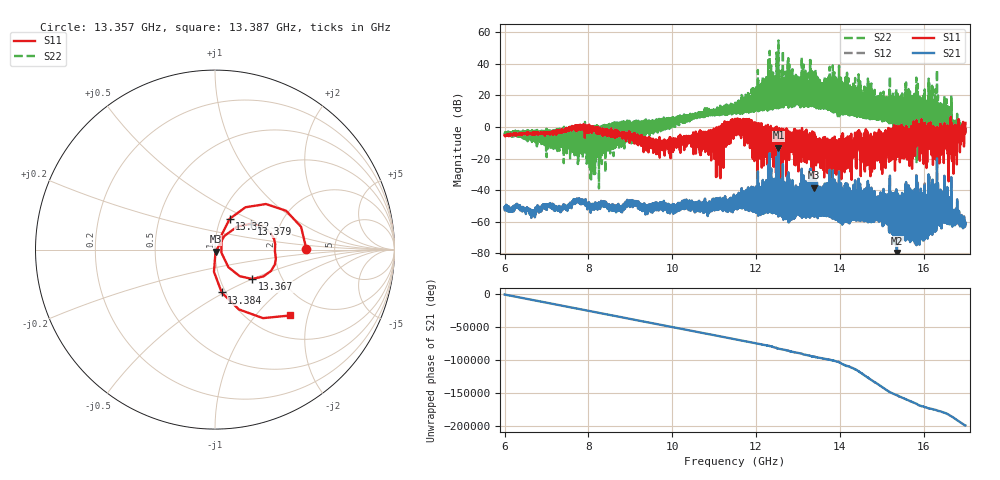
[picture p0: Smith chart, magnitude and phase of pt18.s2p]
#  HZ  S  RI  R  50.00
! Rohde & Schwarz Vector Network Analyzer
! Rohde-Schwarz,ZNA67-2Port,1332450062101215,3.01
! Created: UTC 10/15/2026, 2:29:22 PM
! freq[Hz]  re:S11  im:S11  re:S21  im:S21  re:S12  im:S12  re:S22  im:S22
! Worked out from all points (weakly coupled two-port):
!   11001 points, 6 GHz to 17 GHz, reference 50 ohm
!   highest |S21| = -13.22 dB at 12.538 GHz (marker M1); lowest = -79.7 dB at 15.365 GHz (marker M2)
!   lowest |S11| = -38.4 dB at 13.382 GHz (marker M3), VSWR 1.02, Z = 50.3 - j1.17 ohm
!   |S11| at or under -10 dB: 9.829047 GHz to 9.86992 GHz (40.87 MHz wide, 0.415 % of centre); 13.71987 GHz to 13.76967 GHz (49.81 MHz wide, 0.362 % of centre); 14.08098 GHz to 14.12768 GHz (46.7 MHz wide, 0.331 % of centre) (the widest 3 of 486)
!   |S22| runs from -38.9 to 54.6 dB; largest |S21 - S12| = 0.0056
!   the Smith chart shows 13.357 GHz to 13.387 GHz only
!   S11 on the Smith chart (normalised r, x): 13.357 GHz: 3.07, +0.03; 13.362 GHz: 1.10, +0.39; 13.367 GHz: 1.42, -0.50; 13.379 GHz: 1.42, +0.43; 13.384 GHz: 0.96, -0.49; 13.387 GHz: 1.46, -1.56
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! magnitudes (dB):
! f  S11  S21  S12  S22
! 6 GHz  -5.3  -50.4  -50.4  -4.8
! 6.677 GHz  -4.3  -53.1  -53.0  -7.8
! 7.834 GHz  -0.5  -47.3  -47.2  -6.2
! 9.667 GHz  -10.6  -52.3  -52.4  0.7
! 11.053 GHz  -0.4  -46.0  -46.2  10.2
! 11.5 GHz  4.7  -51.6  -51.4  10.1
! 12.538 GHz  -3.3  -13.2  -13.1  54.6
! 13.334 GHz  -6.4  -53.3  -52.8  16.9
! 13.357 GHz  -5.9  -51.3  -51.2  18.7
! 13.362 GHz  -14.4  -41.7  -41.7  26.5
! 13.367 GHz  -11.6  -49.7  -49.6  19.9
! 13.379 GHz  -12.2  -47.3  -47.0  22.6
! 13.382 GHz  -38.4  -56.1  -55.9  13.4
! 13.384 GHz  -12.3  -52.7  -52.4  15.3
! 13.387 GHz  -5.1  -49.3  -49.2  18.0
! 13.891 GHz  -8.1  -57.0  -57.0  11.0
! 15.167 GHz  -9.7  -55.3  -55.5  7.7
! 15.365 GHz  -10.3  -79.7  -80.2  -0.3
! 15.694 GHz  -2.7  -65.8  -65.2  -2.3
! 15.805 GHz  -1.8  -48.2  -48.4  11.4
! 16.49 GHz  -5.3  -58.4  -58.4  -3.9
! 17 GHz  2.5  -60.5  -59.8  -0.2
